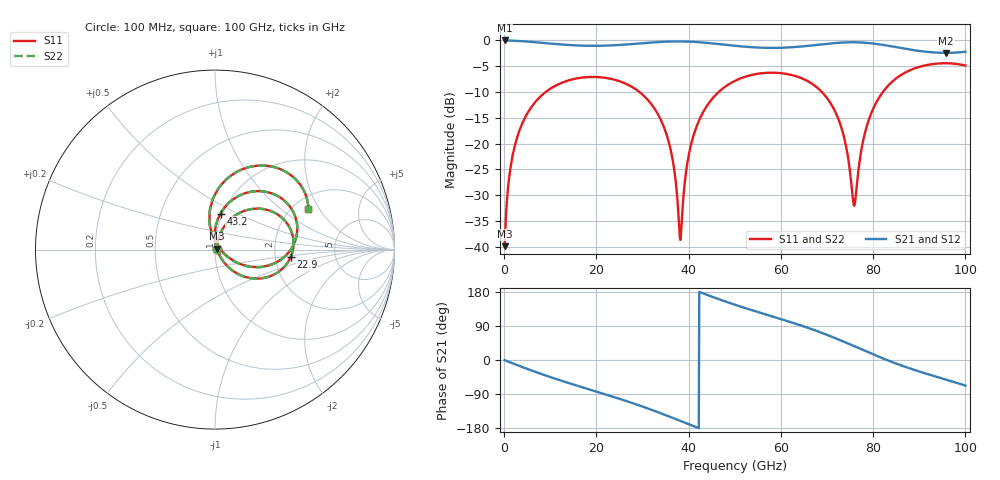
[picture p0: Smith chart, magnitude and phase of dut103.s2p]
! Touchstone file exported from HFSS 2026.1.0
!  File:  C:/ffzhzh/LocalFiles/Ansys_Project_Files/temp_train_TSV_RDL_103_1783456079_28540.aedt
!  Generated:  04:35:25 AM Jul  8, 2026
!  Design:  TSV_RDL
!  Project:  temp_train_TSV_RDL_103_1783456079_28540
! Variables:
!  h_bsmrdl = 2.29um
!  h_ox = 20um
!  h_rdl = 5um
!  h_sub = 60.22um
!  h_tmrdl = 3.03um
!  h_tsv = 60.22um
!  h_via = 3um
!  l_bsmrdl = 118.77um
!  l_sub = 1329.77um
!  l_tmrdl = 118.75um
!  m_sub = 200um
!  pitch = 50.8um
!  r_tsv = 13.54um
!  s_tmrdl = 10um
!  w_bsmrdl = 22.41um
!  w_sub = 500um
!  w_tmrdl = 10.41um
!  x_tsv_center1 = 123.955um
!  x_tsv_center2 = 265.135um
!  x_tsv_center3 = 394.295um
!  x_tsv_center4 = 535.475um
!  x_tsv_center5 = 664.635um
!  x_tsv_center6 = 805.815um
# GHz S MA R 50.000000
! Terminal data exported
! Port[1] = TM_RDL1_1_T1
! Port[2] = TM_RDL5_1_T1
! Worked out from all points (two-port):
!   1000 points, 100 MHz to 100 GHz, reference 50 ohm
!   highest |S21| = -0.08 dB at 100 MHz (marker M1); lowest = -2.5 dB at 95.8 GHz (marker M2)
!   |S21| within 3 dB of the highest: start of sweep to end of sweep
!   lowest |S11| = -39.8 dB at 100 MHz (marker M3), VSWR 1.02, Z = 50.9 + j0.45 ohm
!   |S11| at or under -10 dB: start of sweep to 9.057 GHz; 29.28 GHz to 46.55 GHz (17.27 GHz wide, 45.6 % of centre); 68.84 GHz to 82.14 GHz (13.29 GHz wide, 17.6 % of centre)
!   |S22| runs from -39.8 to -4.5 dB; largest |S21 - S12| = 4.3e-14
!   S11 on the Smith chart (normalised r, x): 100 MHz: 1.02, +0.01; 22.9 GHz: 2.45, -0.24; 43.2 GHz: 0.98, +0.41; 100 GHz: 2.41, +1.61
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0.1  0.01022 25.6  0.9908 -0.5  0.9908 -0.5  0.01022 25.6
! Gamma 0 0 0 0
! Port Impedance 50 0 50 0
1.6  0.0673 72.4  0.9862 -7.7  0.9862 -7.7  0.0673 72.4
4.4  0.1736 64.8  0.9713 -20.7  0.9713 -20.7  0.1736 64.8
9.4  0.3246 44.7  0.9296 -42.6  0.9296 -42.6  0.3246 44.7
16.8  0.4333 16.7  0.8835 -71.5  0.8835 -71.5  0.4333 16.7
22.9  0.4242 -5.4  0.8864 -94.3  0.8864 -94.3  0.4243 -5.5
33.4  0.1899 -46.3  0.956 -138.0  0.956 -138.0  0.1899 -46.5
36.3  0.07923 -54.7  0.9685 -151.6  0.9685 -151.6  0.0792 -55.1
38.2  0.01174 19.0  0.9699 -160.7  0.9699 -160.7  0.01126 18.8
40.2  0.08468 90.5  0.9648 -170.3  0.9648 -170.3  0.08458 90.7
43.2  0.2033 81.2  0.9457 175.5  0.9457 175.5  0.2032 81.3
50.1  0.4047 53.6  0.8795 145.6  0.8795 145.6  0.4047 53.6
59.1  0.4825 20.8  0.8406 111.3  0.8406 111.3  0.4825 20.7
66.7  0.3793 -7.3  0.8863 81.3  0.8863 81.3  0.3793 -7.6
72.7  0.1621 -29.6  0.9419 53.1  0.9419 53.1  0.1619 -30.3
74.2  0.09078 -30.0  0.9494 45.4  0.9494 45.4  0.09041 -31.1
75.9  0.02515 37.0  0.9516 36.4  0.9516 36.4  0.02329 36.9
78.7  0.1512 101.2  0.9385 21.6  0.9385 21.6  0.1508 101.8
83.4  0.3685 83.8  0.8786 -2.1  0.8786 -2.1  0.3683 84.0
89.2  0.5365 60.8  0.794 -27.2  0.794 -27.2  0.5364 60.9
95.8  0.5968 37.8  0.752 -51.8  0.752 -51.8  0.5968 37.8
100  0.5672 23.5  0.7707 -67.6  0.7707 -67.6  0.5672 23.4
